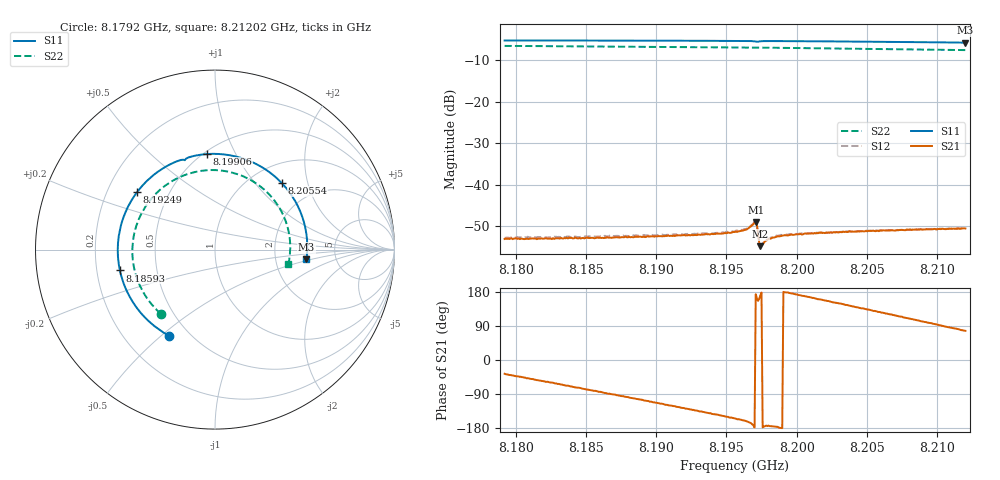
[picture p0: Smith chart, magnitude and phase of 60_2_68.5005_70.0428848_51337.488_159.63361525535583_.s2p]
#  HZ  S  RI  R  50.00
! Rohde & Schwarz Vector Network Analyzer
! Rohde-Schwarz,ZNB20-2Port,1311601062101988,3.16
! Created: UTC 3/20/2024, 5:06:21 PM
! freq[Hz]  re:S11  im:S11  re:S21  im:S21  re:S12  im:S12  re:S22  im:S22
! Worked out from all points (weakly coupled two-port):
!   401 points, 8.1792 GHz to 8.21202 GHz, reference 50 ohm
!   highest |S21| = -48.91 dB at 8.19709 GHz (marker M1); lowest = -54.7 dB at 8.19741 GHz (marker M2)
!   lowest |S11| = -5.8 dB at 8.21202 GHz (marker M3), VSWR 3.10, Z = 151 - j22.1 ohm
!   |S11| at or under -10 dB: nowhere
!   |S22| runs from -7.6 to -6.6 dB; largest |S21 - S12| = 0.00017
!   S11 on the Smith chart (normalised r, x): 8.1792 GHz: 0.39, -0.53; 8.18593 GHz: 0.30, -0.10; 8.19249 GHz: 0.33, +0.30; 8.19906 GHz: 0.52, +0.78; 8.20554 GHz: 1.36, +1.39; 8.21202 GHz: 3.03, -0.44
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8.179198e9  -0.2581 -0.4787  0.0018 -0.00132  0.00182 -0.00142  -0.3014 -0.3578
8.182234e9  -0.4192 -0.3457  0.00121 -0.0019  0.0012 -0.002  -0.4065 -0.2252
8.184696e9  -0.5052 -0.1985  0.000582 -0.00221  0.000589 -0.00232  -0.452 -0.0961
8.185927e9  -0.5297 -0.1163  0.000233 -0.0023  0.000202 -0.00237  -0.4602 -0.0283
8.18806e9  -0.5407 0.0317  -0.000366 -0.00235  -0.000429 -0.00239  -0.45 0.0897
8.190194e9  -0.5108 0.1776  -0.000986 -0.00221  -0.00107 -0.00222  -0.4099 0.2009
8.192491e9  -0.4351 0.3192  -0.00163 -0.00189  -0.00172 -0.00189  -0.3358 0.3048
8.19561e9  -0.2714 0.4636  -0.00245 -0.00117  -0.00254 -0.00111  -0.1942 0.4048
8.19643e9  -0.2185 0.4895  -0.00276 -0.000904  -0.00285 -0.000811  -0.151 0.4215
8.196922e9  -0.1831 0.5004  -0.00334 -0.000422  -0.00344 -0.000328  -0.1244 0.4292
8.197087e9  -0.171 0.4995  -0.00356 0.000398  -0.00362 0.000532  -0.1152 0.4312
8.197415e9  -0.1597 0.5074  -0.00181 0.000302  -0.00183 0.000393  -0.0975 0.4353
8.197497e9  -0.1541 0.5105  -0.00186 6.42e-05  -0.0019 0.000133  -0.0931 0.4361
8.197579e9  -0.1483 0.5131  -0.00192 -7.96e-05  -0.00197 -2.35e-06  -0.0883 0.437
8.198153e9  -0.1069 0.5241  -0.00224 -0.000213  -0.00231 -0.000132  -0.056 0.4413
8.199056e9  -0.0431 0.5325  -0.00245 9.76e-06  -0.00249 0.000128  -0.00488 0.4432
8.201107e9  0.1013 0.522  -0.00251 0.000731  -0.00251 0.000821  0.1103 0.4251
8.203241e9  0.2424 0.47  -0.00229 0.00143  -0.00225 0.00156  0.2216 0.3743
8.205538e9  0.3713 0.3715  -0.00178 0.00215  -0.00168 0.00223  0.3212 0.286
8.206605e9  0.4194 0.313  -0.00144 0.00243  -0.00138 0.00249  0.3575 0.2347
8.209313e9  0.4993 0.1386  -0.000446 0.00289  -0.000387 0.00291  0.4134 0.0841
8.212021e9  0.5094 -0.0537  0.000674 0.00291  0.000739 0.00293  0.4089 -0.0799
